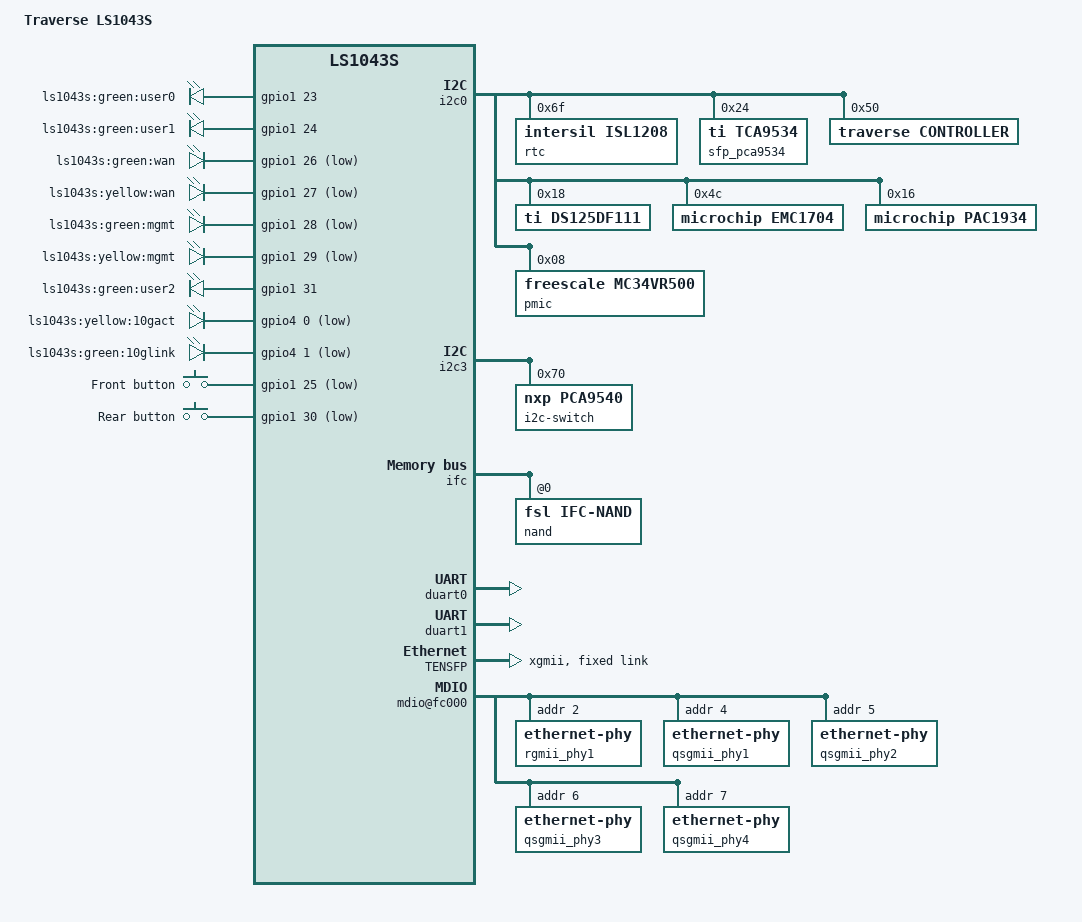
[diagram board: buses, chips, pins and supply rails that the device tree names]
/*
 * Device Tree Include file for Traverse LS1043S board.
 *
 * Copyright 2014-2015, Freescale Semiconductor
 * Copyright 2017-2018, Traverse Technologies
 *
 * This file is dual-licensed: you can use it either under the terms
 * of the GPLv2 or the X11 license, at your option. Note that this dual
 * licensing only applies to this file, and not this project as a
 * whole.
 *
 *  a) This library is free software; you can redistribute it and/or
 *     modify it under the terms of the GNU General Public License as
 *     published by the Free Software Foundation; either version 2 of the
 *     License, or (at your option) any later version.
 *
 *     This library is distributed in the hope that it will be useful,
 *     but WITHOUT ANY WARRANTY; without even the implied warranty of
 *     MERCHANTABILITY or FITNESS FOR A PARTICULAR PURPOSE.  See the
 *     GNU General Public License for more details.
 *
 * Or, alternatively,
 *
 *  b) Permission is hereby granted, free of charge, to any person
 *     obtaining a copy of this software and associated documentation
 *     files (the "Software"), to deal in the Software without
 *     restriction, including without limitation the rights to use,
 *     copy, modify, merge, publish, distribute, sublicense, and/or
 *     sell copies of the Software, and to permit persons to whom the
 *     Software is furnished to do so, subject to the following
 *     conditions:
 *
 *     The above copyright notice and this permission notice shall be
 *     included in all copies or substantial portions of the Software.
 *
 *     THE SOFTWARE IS PROVIDED "AS IS", WITHOUT WARRANTY OF ANY KIND,
 *     EXPRESS OR IMPLIED, INCLUDING BUT NOT LIMITED TO THE WARRANTIES
 *     OF MERCHANTABILITY, FITNESS FOR A PARTICULAR PURPOSE AND
 *     NONINFRINGEMENT. IN NO EVENT SHALL THE AUTHORS OR COPYRIGHT
 *     HOLDERS BE LIABLE FOR ANY CLAIM, DAMAGES OR OTHER LIABILITY,
 *     WHETHER IN AN ACTION OF CONTRACT, TORT OR OTHERWISE, ARISING
 *     FROM, OUT OF OR IN CONNECTION WITH THE SOFTWARE OR THE USE OR
 *     OTHER DEALINGS IN THE SOFTWARE.
 */

/dts-v1/;
#include "fsl-ls1043a.dtsi"
#include <dt-bindings/gpio/gpio.h>
#include <dt-bindings/input/input.h>

/ {
	model = "Traverse LS1043S";
	compatible = "traverse,ls1043s";

	aliases {
		crypto = &crypto;
		ethernet0 = &EMAC0;
		ethernet1 = &EMAC1;
		ethernet2 = &EMAC2;
		ethernet3 = &EMAC3;
		ethernet4 = &EMAC4;
		ethernet5 = &EMAC5;
	};

	leds {
		compatible = "gpio-leds";
		gpio0 {
			label = "ls1043s:green:user0";
			gpios = <&gpio1 23 GPIO_ACTIVE_HIGH>;
		};
		gpio1 {
			label = "ls1043s:green:user1";
			gpios = <&gpio1 24 GPIO_ACTIVE_HIGH>;
		};
		/* LED D17 */
		gpio2 {
			label = "ls1043s:green:wan";
			gpios = <&gpio1 26 GPIO_ACTIVE_LOW>;
		};
		gpio3 {
			label = "ls1043s:yellow:wan";
			gpios = <&gpio1 27 GPIO_ACTIVE_LOW>;
		};
		/* LED D18 */
		gpio4 {
			label = "ls1043s:green:mgmt";
			gpios = <&gpio1 28 GPIO_ACTIVE_LOW>;
		};
		gpio5 {
			label = "ls1043s:yellow:mgmt";
			gpios = <&gpio1 29 GPIO_ACTIVE_LOW>;
		};
		/* LED D6 */
		gpio6 {
			label = "ls1043s:green:user2";
			gpios = <&gpio1 31 GPIO_ACTIVE_HIGH>;
		};

		/* SFP+ LEDs - these are for chassis
		 * with lightpipes only
		 */
		teng_act {
			label = "ls1043s:yellow:10gact";
			gpios = <&gpio4 0 GPIO_ACTIVE_LOW>;
		};

		teng_link {
			label = "ls1043s:green:10glink";
			gpios = <&gpio4 1 GPIO_ACTIVE_LOW>;
		};
	};

	keys {
		compatible = "gpio-keys-polled";
		#address-cells = <1>;
		#size-cells = <0>;
		poll-interval = <1000>;
		/* This button may not be loaded on all boards */
		button@0 {
			label = "Front button";
			linux,code = <KEY_SETUP>;
			gpios = <&gpio1 25 GPIO_ACTIVE_LOW>;
		};
		/* This is wired to header S3 */
		button@1 {
			label = "Rear button";
			linux,code = <KEY_WPS_BUTTON>;
			gpios = <&gpio1 30 GPIO_ACTIVE_LOW>;
		};
	};
};

&esdhc {
	mmc-hs200-1_8v;
	sd-uhs-sdr104;
	sd-uhs-sdr50;
	sd-uhs-sdr25;
	sd-uhs-sdr12;
};

&i2c0 {
	status = "okay";
	rtc@6f {
		compatible = "intersil,isl1208";
		reg = <0x6f>;
	};

	sfp_pca9534: pca9534@24 {
		compatible = "ti,tca9534", "nxp,pca9534";
		gpio-controller;
		#gpio-cells = <2>;
		reg = <0x24>;
		gpio-base = <100>;
	};

	controller@50 {
		compatible = "traverse,controller";
		reg = <0x50>;
	};

	ds125df111@18 {
		compatible = "ti,ds125df111";
		reg = <0x18>;
	};

	emc1704@4c {
		compatible = "microchip,emc1704";
		reg = <0x4c>;
	};

	pac1934@16 {
		compatible = "microchip,pac1934";
		reg = <0x16>;
		/* Monitoring 3.3V, 5V, Vin/12V (voltage only), Vbat/RTC (voltage only) */
		shunt-resistors = <4000 12000 0 0>;
	};

	pmic@8 {
		compatible = "freescale,mc34vr500";
		reg = <0x08>;
	};
};

/* I2C Bus for SFP EEPROM and control
 * These are multiplexed so
 * they don't collide when loaded
 */
&i2c3 {
	status = "okay";
	i2c-switch@70 {
		compatible = "nxp,pca9540";
		#address-cells = <1>;
		#size-cells = <0>;
		reg = <0x70>;

		gigsfp_i2c: i2c@0 {
			#address-cells = <1>;
			#size-cells = <0>;
			reg = <0>;
		};
		tensfp_i2c: i2c@1 {
			#address-cells = <1>;
			#size-cells = <0>;
			reg = <1>;
		};
	};
};

&ifc {
	status = "okay";
	#address-cells = <2>;
	#size-cells = <1>;
	/* Only NAND flash is used on this board */
	ranges = <0x0 0x0 0x0 0x7e800000 0x00010000>;

	nand@1,0 {
		compatible = "fsl,ifc-nand";
		#address-cells = <1>;
		#size-cells = <1>;
		reg = <0x0 0x0 0x10000>;
	};
};

&duart0 {
	status = "okay";
};

&duart1 {
	status = "okay";
};

#include "fsl-ls1043-post.dtsi"

&fman0 {
	EMAC0: ethernet@e0000 {
		phy-handle = <&qsgmii_phy1>;
		phy-connection-type = "qsgmii";
		local-mac-address = [0A 00 00 00 00 01];
	};

	EMAC1: ethernet@e2000 {
		phy-handle = <&qsgmii_phy2>;
		phy-connection-type = "qsgmii";
		local-mac-address = [0A 00 00 00 00 02];
	};

	EMAC2: ethernet@e8000 {
		phy-handle = <&qsgmii_phy3>;
		phy-connection-type = "qsgmii";
		local-mac-address = [0A 00 00 00 00 03];
	};

	EMAC3: ethernet@ea000 {
		phy-handle = <&qsgmii_phy4>;
		phy-connection-type = "qsgmii";
		local-mac-address = [0A 00 00 00 00 04];
	};

	/* SFP via AR8031
	 * We treat this as a fixed-link as the
	 * AR8031 is hard-configured into
	 * 1000BASE-X mode
	 * Should MII control be desired, remove
	 * fixed-link and add
	 * phy-handle = <&rgmii_phy1>;
	 */
	EMAC4: ethernet@e4000 {
		phy-connection-type = "rgmii";
		local-mac-address = [0A 00 00 00 00 05];
		fixed-link {
			speed = <1000>;
			full-duplex;
		};
	};

	/* Connection to Expansion (M.2) slot
	 * Future WAN (i.e xDSL) plugin
	 */
	EMAC5: ethernet@e6000 {
		phy-connection-type = "rgmii-id";
		local-mac-address = [00 00 00 00 00 06];
		fixed-link {
			speed = <1000>;
			full-duplex;
		};
	};

	/* 10G SFP+ interface
	 * This can also run at 1.25 and 2.5G with
	 * the appropriate SerDes protocol setting in RCW
	 */
	TENSFP: ethernet@f0000 {
		status = "okay";
		phy-connection-type = "xgmii";
		fixed-link {
			speed = <10000>;
			full-duplex;
		};
	};

	mdio@fc000 {
		rgmii_phy1: ethernet-phy@2 {
			reg = <0x2>;
		};
		qsgmii_phy1: ethernet-phy@4 {
			reg = <0x4>;
		};
		qsgmii_phy2: ethernet-phy@5 {
			reg = <0x5>;
		};
		qsgmii_phy3: ethernet-phy@6 {
			reg = <0x6>;
		};
		qsgmii_phy4: ethernet-phy@7 {
			reg = <0x7>;
		};
	};
};

/* No QUICC engine functions on this board -
 * pins are used for other functions (GPIO, I2C etc.)
 */
&uqe {
	status = "disabled";
};

/* LS1043S does not use the QorIQ AHCI
 * controller.
 */
&sata {
	status = "disabled";
};
